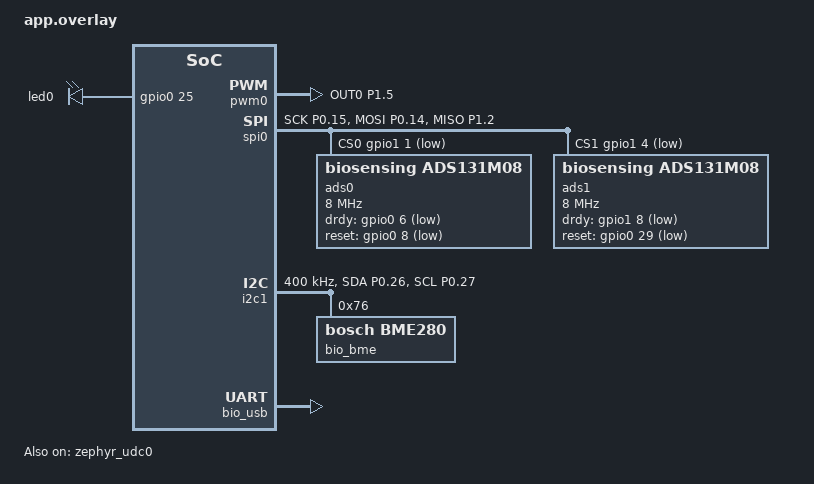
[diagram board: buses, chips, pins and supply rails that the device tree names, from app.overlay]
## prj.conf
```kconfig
# bt52840_full: expanded preset. This is the complete configuration.
# Select nrf52840dk/nrf52840 with NCS v3.3.1 and sysbuild.
# No EXTRA_CONF_FILE or other custom build arguments are needed.

CONFIG_GPIO=y
CONFIG_BT=y
CONFIG_BT_PERIPHERAL=y
CONFIG_BT_MAX_CONN=1
CONFIG_BT_L2CAP_TX_MTU=247
CONFIG_BT_BUF_ACL_RX_SIZE=251
CONFIG_BT_BUF_ACL_TX_SIZE=251
CONFIG_BT_BUF_ACL_TX_COUNT=3
CONFIG_BT_RX_STACK_SIZE=1536
CONFIG_MAIN_STACK_SIZE=2048
CONFIG_SYSTEM_WORKQUEUE_STACK_SIZE=1536
CONFIG_HEAP_MEM_POOL_SIZE=2048
CONFIG_LOG=y
CONFIG_LOG_DEFAULT_LEVEL=3
CONFIG_USE_SEGGER_RTT=y
CONFIG_CONSOLE=y
CONFIG_UART_CONSOLE=n
CONFIG_RTT_CONSOLE=y
CONFIG_LOG_BACKEND_UART=n
CONFIG_LOG_BACKEND_RTT=n
CONFIG_SHELL=y
CONFIG_SHELL_BACKEND_SERIAL=n
CONFIG_SHELL_BACKEND_RTT=y
CONFIG_SHELL_VT100_COLORS=n
CONFIG_SHELL_CMDS_RESIZE=n
CONFIG_REBOOT=y
# Modules do not require an external 32.768 kHz crystal for bring-up.
CONFIG_CLOCK_CONTROL_NRF_K32SRC_RC=y
CONFIG_CLOCK_CONTROL_NRF_K32SRC_XTAL=n

CONFIG_BIO_PROFILE="BT52840 / BT840"
CONFIG_BT_DEVICE_NAME="BT840-v3"
CONFIG_BIO_I2C_SENSORS=y
CONFIG_BIO_BEACONS=y

# Built-in usb feature.
CONFIG_BIO_USB=y
CONFIG_SERIAL=y

# Built-in second-adc feature.
CONFIG_BIO_ADS_SECOND=y

# Built-in adc-clock feature.
CONFIG_BIO_ADC_CLOCK=y
```

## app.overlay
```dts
// bt52840_full: complete carrier overlay; automatically loaded by Zephyr.
#include <zephyr/dt-bindings/gpio/gpio.h>
#include <zephyr/dt-bindings/pinctrl/nrf-pinctrl.h>
/ { aliases { bio-led = &led0; ads0 = &ads0; ads1 = &ads1; sensor-i2c = &i2c1; }; };
&led0 { gpios = <&gpio0 25 GPIO_ACTIVE_HIGH>; };
&led1 { status = "disabled"; };
&led2 { status = "disabled"; };
&led3 { status = "disabled"; };
&button0 { status = "disabled"; };
&button1 { status = "disabled"; };
&button2 { status = "disabled"; };
&button3 { status = "disabled"; };
&gpio0 { /delete-property/ gpio-reserved-ranges; /delete-property/ gpio-line-names; };
&gpio1 { /delete-property/ gpio-line-names; };
&uart0 { status = "disabled"; };
&uart1 { status = "disabled"; };
&qspi { status = "disabled"; };
&pwm0 { status = "disabled"; };
&nfct { status = "disabled"; };
&adc { status = "disabled"; };
&i2c0 { status = "disabled"; };
&spi1 { status = "disabled"; };
&spi0 {
	status = "okay";
	compatible = "nordic,nrf-spim";
	pinctrl-0 = <&bio_spi_default>;
	pinctrl-1 = <&bio_spi_sleep>;
	pinctrl-names = "default", "sleep";
	cs-gpios = <&gpio1 1 GPIO_ACTIVE_LOW>;
	ads0: adc@0 {
		compatible = "biosensing,ads131m08";
		reg = <0>;
		spi-max-frequency = <8000000>;
		drdy-gpios = <&gpio0 6 (GPIO_ACTIVE_LOW | GPIO_PULL_UP)>;
		reset-gpios = <&gpio0 8 GPIO_ACTIVE_LOW>;
	};
	// Extension mapping follows executable main.cpp, see hardware notes.
	ads1: adc@1 {
		compatible = "biosensing,ads131m08";
		reg = <1>;
		spi-max-frequency = <8000000>;
		drdy-gpios = <&gpio1 8 (GPIO_ACTIVE_LOW | GPIO_PULL_UP)>;
		reset-gpios = <&gpio0 29 GPIO_ACTIVE_LOW>;
		status = "disabled";
	};
};
&i2c1 {
	compatible = "nordic,nrf-twim";
	status = "okay";
	clock-frequency = <400000>;
	pinctrl-0 = <&bio_i2c_default>;
	pinctrl-1 = <&bio_i2c_sleep>;
	pinctrl-names = "default", "sleep";
	bio_bme: bme280@76 { compatible = "bosch,bme280"; reg = <0x76>; };
};
&pinctrl {
	bio_spi_default: bio_spi_default { group1 { psels = <NRF_PSEL(SPIM_SCK, 0, 15)>, <NRF_PSEL(SPIM_MOSI, 0, 14)>, <NRF_PSEL(SPIM_MISO, 1, 2)>; }; };
	bio_spi_sleep: bio_spi_sleep { group1 { psels = <NRF_PSEL(SPIM_SCK, 0, 15)>, <NRF_PSEL(SPIM_MOSI, 0, 14)>, <NRF_PSEL(SPIM_MISO, 1, 2)>; low-power-enable; }; };
	bio_i2c_default: bio_i2c_default { group1 { psels = <NRF_PSEL(TWIM_SDA, 0, 26)>, <NRF_PSEL(TWIM_SCL, 0, 27)>; }; };
	bio_i2c_sleep: bio_i2c_sleep { group1 { psels = <NRF_PSEL(TWIM_SDA, 0, 26)>, <NRF_PSEL(TWIM_SCL, 0, 27)>; low-power-enable; }; };
};

// Built-in usb wiring.
&zephyr_udc0 {
	status = "okay";
	bio_usb: cdc_acm_uart0 { compatible = "zephyr,cdc-acm-uart"; };
};

// Built-in second-adc wiring.
&spi0 { cs-gpios = <&gpio1 1 GPIO_ACTIVE_LOW>, <&gpio1 4 GPIO_ACTIVE_LOW>; };
&ads1 { status = "okay"; };

// Built-in adc-clock wiring.
// BT840 draft CLKIN workaround. Never enable against an external clock source.
&pinctrl {
	bio_adc_clock_default: bio_adc_clock_default {
		group1 { psels = <NRF_PSEL(PWM_OUT0, 1, 5)>; };
	};
	bio_adc_clock_sleep: bio_adc_clock_sleep {
		group1 { psels = <NRF_PSEL(PWM_OUT0, 1, 5)>; low-power-enable; };
	};
};
&pwm0 {
	status = "okay";
	pinctrl-0 = <&bio_adc_clock_default>;
	pinctrl-1 = <&bio_adc_clock_sleep>;
	pinctrl-names = "default", "sleep";
};
```

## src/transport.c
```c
#include "transport.h"
#include <string.h>

bool bio_link_set(struct bio_link *link, bool open)
{
	if (link->open == open) {
		return false;
	}
	link->open = open;
	if (++link->generation == 0) {
		++link->generation; /* Zero is always an invalid token. */
	}
	return true;
}

uint32_t bio_link_token(const struct bio_link *link)
{
	return link->open ? link->generation : 0;
}

bool bio_link_accepts(const struct bio_link *link, uint32_t token)
{
	return token != 0 && token == bio_link_token(link);
}

void bio_line_reset(struct bio_line *line)
{
	memset(line, 0, sizeof(*line));
}

enum bio_line_result bio_line_feed(struct bio_line *line, uint8_t byte)
{
	if (byte == '\r' || byte == '\n') {
		enum bio_line_result result = line->overflow ? BIO_LINE_OVERFLOW :
			(line->used ? BIO_LINE_READY : BIO_LINE_MORE);
		line->data[line->used] = '\0';
		line->used = 0;
		line->overflow = false;
		return result;
	}
	/* Reject binary/NUL input as a whole line, not a silently shortened command. */
	if (!byte || line->used >= sizeof(line->data) - 1) {
		line->overflow = true;
	}
	if (!line->overflow) {
		line->data[line->used++] = (char)byte;
	}
	return BIO_LINE_MORE;
}
```

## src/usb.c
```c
#include "bio.h"
#include "transport.h"
#include <string.h>
#include <zephyr/drivers/uart.h>
#include <zephyr/usb/usbd.h>
#include <zephyr/sys/ring_buffer.h>
#include <zephyr/logging/log.h>
LOG_MODULE_REGISTER(bio_usb, LOG_LEVEL_INF);
static const struct device *const uart = DEVICE_DT_GET(DT_NODELABEL(bio_usb));
USBD_DEVICE_DEFINE(bio_usbd, DEVICE_DT_GET(DT_NODELABEL(zephyr_udc0)), CONFIG_BIO_USB_VID, CONFIG_BIO_USB_PID);
USBD_DESC_LANG_DEFINE(usb_language);
USBD_DESC_MANUFACTURER_DEFINE(usb_manufacturer, "Biosensing development");
USBD_DESC_PRODUCT_DEFINE(usb_product, "Biosensing v3");
USBD_DESC_CONFIG_DEFINE(usb_config_string, "CDC data");
USBD_CONFIGURATION_DEFINE(usb_config, USB_SCD_SELF_POWERED, 2, &usb_config_string);
RING_BUF_DECLARE(usb_tx, 2048);
/* One lock protects session changes, partial RX lines, and application TX bytes. */
static struct k_spinlock state_lock;
static atomic_t usb_ready, sequence, tx_dropped, rx_dropped;
static struct bio_link link;
static struct bio_line line;

static void set_host_open(bool open)
{
	k_spinlock_key_t key = k_spin_lock(&state_lock);
	if (bio_link_set(&link, open) || !open) {
		bio_line_reset(&line);
		ring_buf_reset(&usb_tx);
	}
	k_spin_unlock(&state_lock, key);
}

static void receive_byte(uint8_t ch)
{
	/* Copy a completed line before releasing the lock to the USB event callback. */
	char command[BIO_COMMAND_MAX];
	k_spinlock_key_t key = k_spin_lock(&state_lock);
	uint32_t token = bio_link_token(&link);
	enum bio_line_result result = token ? bio_line_feed(&line, ch) : BIO_LINE_MORE;
	if (result == BIO_LINE_READY) { strcpy(command, line.data); }
	k_spin_unlock(&state_lock, key);
	if (result == BIO_LINE_READY) {
		int err = bio_submit(BIO_ORIGIN_USB, command, strlen(command), false, token);
		if (err) {
			atomic_inc(&rx_dropped);
			(void)bio_usb_reply("error command queue", token);
		}
	} else if (result == BIO_LINE_OVERFLOW) {
		atomic_inc(&rx_dropped);
		(void)bio_usb_reply("error invalid or overlong line", token);
	}
}
static void serial_irq(const struct device *dev, void *context)
{
	while (uart_irq_update(dev) && uart_irq_is_pending(dev)) {
		if (uart_irq_rx_ready(dev)) {
			uint8_t ch;
			while (uart_fifo_read(dev, &ch, 1) == 1) {
				receive_byte(ch);
			}
		}
		if (uart_irq_tx_ready(dev)) {
			k_spinlock_key_t key = k_spin_lock(&state_lock);
			uint8_t *data;
			uint32_t len = ring_buf_get_claim(&usb_tx, &data, 64);
			int sent = len ? uart_fifo_fill(dev, data, len) : 0;
			ring_buf_get_finish(&usb_tx, sent > 0 ? sent : 0);
			if (!len) { uart_irq_tx_disable(dev); }
			k_spin_unlock(&state_lock, key);
			if (len && sent <= 0) { break; }
		}
	}
}
static void usb_event(struct usbd_context *ctx, const struct usbd_msg *msg)
{
	if (msg->type == USBD_MSG_VBUS_READY) {
		int err = usbd_enable(ctx); if (err) { LOG_WRN("USB enable: %d", err); }
	} else if (msg->type == USBD_MSG_VBUS_REMOVED) {
		set_host_open(false);
		(void)usbd_disable(ctx);
	}
	else if (msg->type == USBD_MSG_CDC_ACM_CONTROL_LINE_STATE) {
		uint32_t dtr = 0;
		(void)uart_line_ctrl_get(msg->dev, UART_LINE_CTRL_DTR, &dtr);
		set_host_open(dtr != 0);
	}
	if (msg->type == USBD_MSG_RESET) { set_host_open(false); }
}
int bio_usb_init(void)
{
	if (!device_is_ready(uart)) { return -ENODEV; }
	int err = usbd_add_descriptor(&bio_usbd, &usb_language);
	if (!err) { err = usbd_add_descriptor(&bio_usbd, &usb_manufacturer); }
	if (!err) { err = usbd_add_descriptor(&bio_usbd, &usb_product); }
	if (!err) { err = usbd_add_configuration(&bio_usbd, USBD_SPEED_FS, &usb_config); }
	if (!err) { err = usbd_register_class(&bio_usbd, "cdc_acm_0", USBD_SPEED_FS, 1); }
	if (!err) { err = usbd_device_set_code_triple(&bio_usbd, USBD_SPEED_FS, USB_BCC_MISCELLANEOUS, 2, 1); }
	if (!err) { err = usbd_msg_register_cb(&bio_usbd, usb_event); }
	if (!err) { err = usbd_init(&bio_usbd); }
	if (!err) { err = uart_irq_callback_user_data_set(uart, serial_irq, NULL); }
	if (!err && !usbd_can_detect_vbus(&bio_usbd)) { err = usbd_enable(&bio_usbd); }
	if (!err) { atomic_set(&usb_ready, 1); uart_irq_rx_enable(uart); }
	return err;
}
static int send_frame(uint8_t sensor, const void *data, size_t len, uint32_t token)
{
	if (!atomic_get(&usb_ready) || !token) { return -ENOTCONN; }
	uint8_t frame[BIO_PACKET_MAX + BIO_FRAME_HEADER];
	size_t size = bio_frame(frame, sizeof(frame), sensor, atomic_inc(&sequence), data, len, 0);
	if (!size) { return -EMSGSIZE; }
	k_spinlock_key_t key = k_spin_lock(&state_lock);
	int err = 0;
	if (!bio_link_accepts(&link, token)) { err = -ENOTCONN; }
	else if (ring_buf_space_get(&usb_tx) < size) {
		atomic_inc(&tx_dropped);
		err = -ENOBUFS;
	}
	else { ring_buf_put(&usb_tx, frame, size); }
	k_spin_unlock(&state_lock, key);
	if (!err) { uart_irq_tx_enable(uart); }
	return err;
}

uint32_t bio_usb_session(void)
{
	k_spinlock_key_t key = k_spin_lock(&state_lock);
	uint32_t token = bio_link_token(&link);
	k_spin_unlock(&state_lock, key);
	return token;
}

int bio_usb_send(uint8_t sensor, const void *data, size_t len)
{
	return send_frame(sensor, data, len, bio_usb_session());
}

int bio_usb_reply(const char *text, uint32_t token)
{
	return send_frame(BIO_RESPONSE, text, strlen(text), token);
}

bool bio_usb_ready(void) { return atomic_get(&usb_ready) != 0; }
struct bio_io_stats bio_usb_stats(void)
{
	return (struct bio_io_stats){ .tx_drop = atomic_get(&tx_dropped), .rx_drop = atomic_get(&rx_dropped) };
}
```
